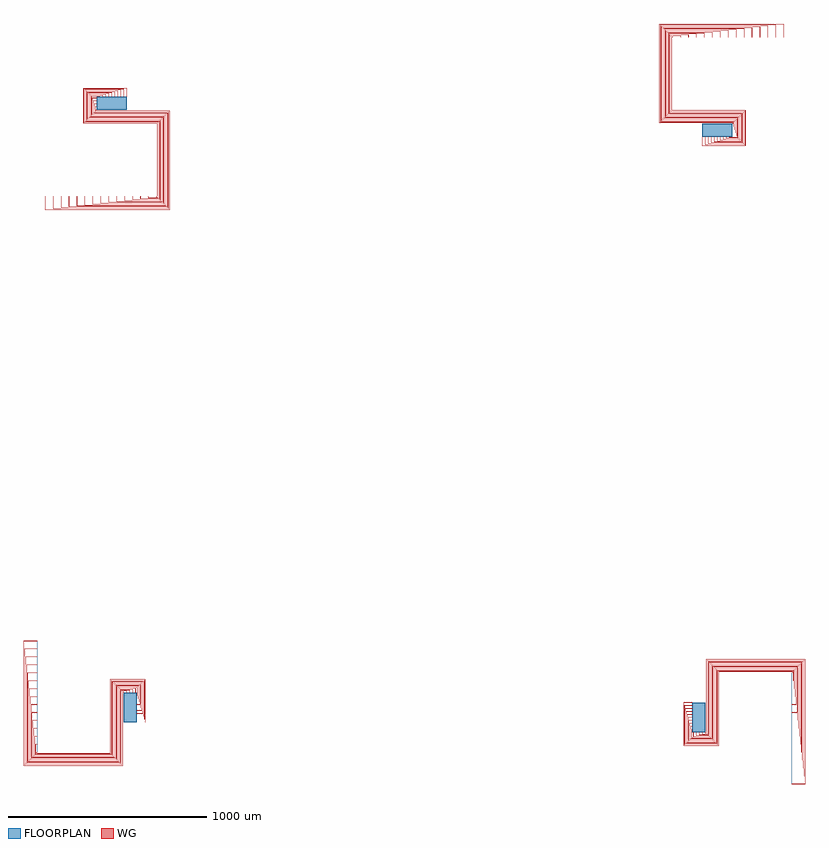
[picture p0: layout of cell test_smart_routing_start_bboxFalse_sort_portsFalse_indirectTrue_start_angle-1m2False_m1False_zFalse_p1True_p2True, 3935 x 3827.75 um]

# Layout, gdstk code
import gdstk
lib = gdstk.Library(unit=1e-6, precision=1e-09)
def R(c, l, rs):  # rectangles x0, y0, x1, y1
    for r in rs: c.add(gdstk.rectangle(r[:2], r[2:], *l))
def P(c, l, *ps):  # polygons
    for p in ps: c.add(gdstk.Polygon(p, *l))
WG = (1, 0)
FLOORPLAN = (10, 0)

test_smart_routing_start = lib.new_cell('test_smart_routing_start_bboxFalse_sort_portsFalse_indirectTrue_start_angle-1m2False_m1False_zFalse_p1True_p2True')
P(test_smart_routing_start, WG, [(2949.75,2855),(2949.75,2900),(2949.95,2900),(2949.95,2855.2),(3167.3,2855.2),(3167.3,3032.55),(2795.55,3032.55),(2795.55,3404.2),(2799.95,3404.2),(2799.95,3400),(2799.75,3400),(2799.75,3404),(2795.75,3404),(2795.75,3032.75),(3167.5,3032.75),(3167.5,2855)],
  [(2950.05,2855.3),(2950.05,2900),(2950.25,2900),(2950.25,2855.5),(3167,2855.5),(3167,3032.25),(2795.25,3032.25),(2795.25,3404.5),(2800.25,3404.5),(2800.25,3400),(2800.05,3400),(2800.05,3404.3),(2795.45,3404.3),(2795.45,3032.45),(3167.2,3032.45),(3167.2,2855.3)],
  [(2964.75,2859.5),(2964.75,2900),(2964.95,2900),(2964.95,2859.7),(3162.8,2859.7),(3162.8,3028.05),(2791.05,3028.05),(2791.05,3408.7),(2839.95,3408.7),(2839.95,3400),(2839.75,3400),(2839.75,3408.5),(2791.25,3408.5),(2791.25,3028.25),(3163,3028.25),(3163,2859.5)],
  [(2965.05,2859.8),(2965.05,2900),(2965.25,2900),(2965.25,2860),(3162.5,2860),(3162.5,3027.75),(2790.75,3027.75),(2790.75,3409),(2840.25,3409),(2840.25,3400),(2840.05,3400),(2840.05,3408.8),(2790.95,3408.8),(2790.95,3027.95),(3162.7,3027.95),(3162.7,2859.8)],
  [(2979.75,2864),(2979.75,2900),(2979.95,2900),(2979.95,2864.2),(3158.3,2864.2),(3158.3,3023.55),(2786.55,3023.55),(2786.55,3413.2),(2879.95,3413.2),(2879.95,3400),(2879.75,3400),(2879.75,3413),(2786.75,3413),(2786.75,3023.75),(3158.5,3023.75),(3158.5,2864)],
  [(2980.05,2864.3),(2980.05,2900),(2980.25,2900),(2980.25,2864.5),(3158,2864.5),(3158,3023.25),(2786.25,3023.25),(2786.25,3413.5),(2880.25,3413.5),(2880.25,3400),(2880.05,3400),(2880.05,3413.3),(2786.45,3413.3),(2786.45,3023.45),(3158.2,3023.45),(3158.2,2864.3)],
  [(2994.75,2868.5),(2994.75,2900),(2994.95,2900),(2994.95,2868.7),(3153.8,2868.7),(3153.8,3019.05),(2782.05,3019.05),(2782.05,3417.7),(2919.95,3417.7),(2919.95,3400),(2919.75,3400),(2919.75,3417.5),(2782.25,3417.5),(2782.25,3019.25),(3154,3019.25),(3154,2868.5)],
  [(2995.05,2868.8),(2995.05,2900),(2995.25,2900),(2995.25,2869),(3153.5,2869),(3153.5,3018.75),(2781.75,3018.75),(2781.75,3418),(2920.25,3418),(2920.25,3400),(2920.05,3400),(2920.05,3417.8),(2781.95,3417.8),(2781.95,3018.95),(3153.7,3018.95),(3153.7,2868.8)],
  [(3009.75,2873),(3009.75,2900),(3009.95,2900),(3009.95,2873.2),(3149.3,2873.2),(3149.3,3014.55),(2777.55,3014.55),(2777.55,3422.2),(2959.95,3422.2),(2959.95,3400),(2959.75,3400),(2959.75,3422),(2777.75,3422),(2777.75,3014.75),(3149.5,3014.75),(3149.5,2873)],
  [(3010.05,2873.3),(3010.05,2900),(3010.25,2900),(3010.25,2873.5),(3149,2873.5),(3149,3014.25),(2777.25,3014.25),(2777.25,3422.5),(2960.25,3422.5),(2960.25,3400),(2960.05,3400),(2960.05,3422.3),(2777.45,3422.3),(2777.45,3014.45),(3149.2,3014.45),(3149.2,2873.3)],
  [(3024.75,2877.5),(3024.75,2900),(3024.95,2900),(3024.95,2877.7),(3144.8,2877.7),(3144.8,3010.05),(2773.05,3010.05),(2773.05,3426.7),(2999.95,3426.7),(2999.95,3400),(2999.75,3400),(2999.75,3426.5),(2773.25,3426.5),(2773.25,3010.25),(3145,3010.25),(3145,2877.5)],
  [(3025.05,2877.8),(3025.05,2900),(3025.25,2900),(3025.25,2878),(3144.5,2878),(3144.5,3009.75),(2772.75,3009.75),(2772.75,3427),(3000.25,3427),(3000.25,3400),(3000.05,3400),(3000.05,3426.8),(2772.95,3426.8),(2772.95,3009.95),(3144.7,3009.95),(3144.7,2877.8)],
  [(3039.75,2882),(3039.75,2900),(3039.95,2900),(3039.95,2882.2),(3140.3,2882.2),(3140.3,3005.55),(2768.55,3005.55),(2768.55,3431.2),(3039.95,3431.2),(3039.95,3400),(3039.75,3400),(3039.75,3431),(2768.75,3431),(2768.75,3005.75),(3140.5,3005.75),(3140.5,2882)],
  [(3040.05,2882.3),(3040.05,2900),(3040.25,2900),(3040.25,2882.5),(3140,2882.5),(3140,3005.25),(2768.25,3005.25),(2768.25,3431.5),(3040.25,3431.5),(3040.25,3400),(3040.05,3400),(3040.05,3431.3),(2768.45,3431.3),(2768.45,3005.45),(3140.2,3005.45),(3140.2,2882.3)],
  [(3054.75,2886.5),(3054.75,2900),(3054.95,2900),(3054.95,2886.7),(3135.8,2886.7),(3135.8,3001.05),(2764.05,3001.05),(2764.05,3435.7),(3079.95,3435.7),(3079.95,3400),(3079.75,3400),(3079.75,3435.5),(2764.25,3435.5),(2764.25,3001.25),(3136,3001.25),(3136,2886.5)],
  [(3055.05,2886.8),(3055.05,2900),(3055.25,2900),(3055.25,2887),(3135.5,2887),(3135.5,3000.75),(2763.75,3000.75),(2763.75,3436),(3080.25,3436),(3080.25,3400),(3080.05,3400),(3080.05,3435.8),(2763.95,3435.8),(2763.95,3000.95),(3135.7,3000.95),(3135.7,2886.8)],
  [(3069.75,2891),(3069.75,2900),(3069.95,2900),(3069.95,2891.2),(3131.3,2891.2),(3131.3,2996.55),(2759.55,2996.55),(2759.55,3440.2),(3119.95,3440.2),(3119.95,3400),(3119.75,3400),(3119.75,3440),(2759.75,3440),(2759.75,2996.75),(3131.5,2996.75),(3131.5,2891)],
  [(3070.05,2891.3),(3070.05,2900),(3070.25,2900),(3070.25,2891.5),(3131,2891.5),(3131,2996.25),(2759.25,2996.25),(2759.25,3440.5),(3120.25,3440.5),(3120.25,3400),(3120.05,3400),(3120.05,3440.3),(2759.45,3440.3),(2759.45,2996.45),(3131.2,2996.45),(3131.2,2891.3)],
  [(3084.75,2895.5),(3084.75,2900),(3084.95,2900),(3084.95,2895.7),(3126.8,2895.7),(3126.8,2992.05),(2755.05,2992.05),(2755.05,3444.7),(3159.95,3444.7),(3159.95,3400),(3159.75,3400),(3159.75,3444.5),(2755.25,3444.5),(2755.25,2992.25),(3127,2992.25),(3127,2895.5)],
  [(3085.05,2895.8),(3085.05,2900),(3085.25,2900),(3085.25,2896),(3126.5,2896),(3126.5,2991.75),(2754.75,2991.75),(2754.75,3445),(3160.25,3445),(3160.25,3400),(3160.05,3400),(3160.05,3444.8),(2754.95,3444.8),(2754.95,2991.95),(3126.7,2991.95),(3126.7,2895.8)],
  [(3100,2964.75),(3100,2964.95),(3104.3,2964.95),(3104.3,2969.55),(2732.55,2969.55),(2732.55,3467.2),(3359.95,3467.2),(3359.95,3400),(3359.75,3400),(3359.75,3467),(2732.75,3467),(2732.75,2969.75),(3104.5,2969.75),(3104.5,2964.75)],
  [(3100,2965.05),(3100,2965.25),(3104,2965.25),(3104,2969.25),(2732.25,2969.25),(2732.25,3467.5),(3360.25,3467.5),(3360.25,3400),(3360.05,3400),(3360.05,3467.3),(2732.45,3467.3),(2732.45,2969.45),(3104.2,2969.45),(3104.2,2965.05)],
  [(3100,2949.75),(3100,2949.95),(3108.8,2949.95),(3108.8,2974.05),(2737.05,2974.05),(2737.05,3462.7),(3319.95,3462.7),(3319.95,3400),(3319.75,3400),(3319.75,3462.5),(2737.25,3462.5),(2737.25,2974.25),(3109,2974.25),(3109,2949.75)],
  [(3100,2950.05),(3100,2950.25),(3108.5,2950.25),(3108.5,2973.75),(2736.75,2973.75),(2736.75,3463),(3320.25,3463),(3320.25,3400),(3320.05,3400),(3320.05,3462.8),(2736.95,3462.8),(2736.95,2973.95),(3108.7,2973.95),(3108.7,2950.05)],
  [(3100,2934.75),(3100,2934.95),(3113.3,2934.95),(3113.3,2978.55),(2741.55,2978.55),(2741.55,3458.2),(3279.95,3458.2),(3279.95,3400),(3279.75,3400),(3279.75,3458),(2741.75,3458),(2741.75,2978.75),(3113.5,2978.75),(3113.5,2934.75)],
  [(3100,2935.05),(3100,2935.25),(3113,2935.25),(3113,2978.25),(2741.25,2978.25),(2741.25,3458.5),(3280.25,3458.5),(3280.25,3400),(3280.05,3400),(3280.05,3458.3),(2741.45,3458.3),(2741.45,2978.45),(3113.2,2978.45),(3113.2,2935.05)],
  [(3100,2919.75),(3100,2919.95),(3117.8,2919.95),(3117.8,2983.05),(2746.05,2983.05),(2746.05,3453.7),(3239.95,3453.7),(3239.95,3400),(3239.75,3400),(3239.75,3453.5),(2746.25,3453.5),(2746.25,2983.25),(3118,2983.25),(3118,2919.75)],
  [(3100,2920.05),(3100,2920.25),(3117.5,2920.25),(3117.5,2982.75),(2745.75,2982.75),(2745.75,3454),(3240.25,3454),(3240.25,3400),(3240.05,3400),(3240.05,3453.8),(2745.95,3453.8),(2745.95,2982.95),(3117.7,2982.95),(3117.7,2920.05)],
  [(3100,2904.75),(3100,2904.95),(3122.3,2904.95),(3122.3,2987.55),(2750.55,2987.55),(2750.55,3449.2),(3199.95,3449.2),(3199.95,3400),(3199.75,3400),(3199.75,3449),(2750.75,3449),(2750.75,2987.75),(3122.5,2987.75),(3122.5,2904.75)],
  [(3100,2905.05),(3100,2905.25),(3122,2905.25),(3122,2987.25),(2750.25,2987.25),(2750.25,3449.5),(3200.25,3449.5),(3200.25,3400),(3200.05,3400),(3200.05,3449.3),(2750.45,3449.3),(2750.45,2987.45),(3122.2,2987.45),(3122.2,2905.05)],
  [(199.75,2595.5),(199.75,2600),(199.95,2600),(199.95,2595.7),(204.55,2595.7),(204.55,2967.55),(-167.2,2967.55),(-167.2,3144.7),(49.95,3144.7),(49.95,3100),(49.75,3100),(49.75,3144.5),(-167,3144.5),(-167,2967.75),(204.75,2967.75),(204.75,2595.5)],
  [(200.05,2595.8),(200.05,2600),(200.25,2600),(200.25,2596),(204.25,2596),(204.25,2967.25),(-167.5,2967.25),(-167.5,3145),(50.25,3145),(50.25,3100),(50.05,3100),(50.05,3144.8),(-167.3,3144.8),(-167.3,2967.45),(204.45,2967.45),(204.45,2595.8)],
  [(159.75,2591),(159.75,2600),(159.95,2600),(159.95,2591.2),(209.05,2591.2),(209.05,2972.05),(-162.7,2972.05),(-162.7,3140.2),(34.95,3140.2),(34.95,3100),(34.75,3100),(34.75,3140),(-162.5,3140),(-162.5,2972.25),(209.25,2972.25),(209.25,2591)],
  [(160.05,2591.3),(160.05,2600),(160.25,2600),(160.25,2591.5),(208.75,2591.5),(208.75,2971.75),(-163,2971.75),(-163,3140.5),(35.25,3140.5),(35.25,3100),(35.05,3100),(35.05,3140.3),(-162.8,3140.3),(-162.8,2971.95),(208.95,2971.95),(208.95,2591.3)],
  [(119.75,2586.5),(119.75,2600),(119.95,2600),(119.95,2586.7),(213.55,2586.7),(213.55,2976.55),(-158.2,2976.55),(-158.2,3135.7),(19.95,3135.7),(19.95,3100),(19.75,3100),(19.75,3135.5),(-158,3135.5),(-158,2976.75),(213.75,2976.75),(213.75,2586.5)],
  [(120.05,2586.8),(120.05,2600),(120.25,2600),(120.25,2587),(213.25,2587),(213.25,2976.25),(-158.5,2976.25),(-158.5,3136),(20.25,3136),(20.25,3100),(20.05,3100),(20.05,3135.8),(-158.3,3135.8),(-158.3,2976.45),(213.45,2976.45),(213.45,2586.8)],
  [(79.75,2582),(79.75,2600),(79.95,2600),(79.95,2582.2),(218.05,2582.2),(218.05,2981.05),(-153.7,2981.05),(-153.7,3131.2),(4.95,3131.2),(4.95,3100),(4.75,3100),(4.75,3131),(-153.5,3131),(-153.5,2981.25),(218.25,2981.25),(218.25,2582)],
  [(80.05,2582.3),(80.05,2600),(80.25,2600),(80.25,2582.5),(217.75,2582.5),(217.75,2980.75),(-154,2980.75),(-154,3131.5),(5.25,3131.5),(5.25,3100),(5.05,3100),(5.05,3131.3),(-153.8,3131.3),(-153.8,2980.95),(217.95,2980.95),(217.95,2582.3)],
  [(39.75,2577.5),(39.75,2600),(39.95,2600),(39.95,2577.7),(222.55,2577.7),(222.55,2985.55),(-149.2,2985.55),(-149.2,3126.7),(-10.05,3126.7),(-10.05,3100),(-10.25,3100),(-10.25,3126.5),(-149,3126.5),(-149,2985.75),(222.75,2985.75),(222.75,2577.5)],
  [(40.05,2577.8),(40.05,2600),(40.25,2600),(40.25,2578),(222.25,2578),(222.25,2985.25),(-149.5,2985.25),(-149.5,3127),(-9.75,3127),(-9.75,3100),(-9.95,3100),(-9.95,3126.8),(-149.3,3126.8),(-149.3,2985.45),(222.45,2985.45),(222.45,2577.8)],
  [(-0.25,2573),(-0.25,2600),(-0.05,2600),(-0.05,2573.2),(227.05,2573.2),(227.05,2990.05),(-144.7,2990.05),(-144.7,3122.2),(-25.05,3122.2),(-25.05,3100),(-25.25,3100),(-25.25,3122),(-144.5,3122),(-144.5,2990.25),(227.25,2990.25),(227.25,2573)],
  [(0.05,2573.3),(0.05,2600),(0.25,2600),(0.25,2573.5),(226.75,2573.5),(226.75,2989.75),(-145,2989.75),(-145,3122.5),(-24.75,3122.5),(-24.75,3100),(-24.95,3100),(-24.95,3122.3),(-144.8,3122.3),(-144.8,2989.95),(226.95,2989.95),(226.95,2573.3)],
  [(-40.25,2568.5),(-40.25,2600),(-40.05,2600),(-40.05,2568.7),(231.55,2568.7),(231.55,2994.55),(-140.2,2994.55),(-140.2,3117.7),(-40.05,3117.7),(-40.05,3100),(-40.25,3100),(-40.25,3117.5),(-140,3117.5),(-140,2994.75),(231.75,2994.75),(231.75,2568.5)],
  [(-39.95,2568.8),(-39.95,2600),(-39.75,2600),(-39.75,2569),(231.25,2569),(231.25,2994.25),(-140.5,2994.25),(-140.5,3118),(-39.75,3118),(-39.75,3100),(-39.95,3100),(-39.95,3117.8),(-140.3,3117.8),(-140.3,2994.45),(231.45,2994.45),(231.45,2568.8)],
  [(-80.25,2564),(-80.25,2600),(-80.05,2600),(-80.05,2564.2),(236.05,2564.2),(236.05,2999.05),(-135.7,2999.05),(-135.7,3113.2),(-55.05,3113.2),(-55.05,3100),(-55.25,3100),(-55.25,3113),(-135.5,3113),(-135.5,2999.25),(236.25,2999.25),(236.25,2564)],
  [(-79.95,2564.3),(-79.95,2600),(-79.75,2600),(-79.75,2564.5),(235.75,2564.5),(235.75,2998.75),(-136,2998.75),(-136,3113.5),(-54.75,3113.5),(-54.75,3100),(-54.95,3100),(-54.95,3113.3),(-135.8,3113.3),(-135.8,2998.95),(235.95,2998.95),(235.95,2564.3)],
  [(-120.25,2559.5),(-120.25,2600),(-120.05,2600),(-120.05,2559.7),(240.55,2559.7),(240.55,3003.55),(-131.2,3003.55),(-131.2,3108.7),(-70.05,3108.7),(-70.05,3100),(-70.25,3100),(-70.25,3108.5),(-131,3108.5),(-131,3003.75),(240.75,3003.75),(240.75,2559.5)],
  [(-119.95,2559.8),(-119.95,2600),(-119.75,2600),(-119.75,2560),(240.25,2560),(240.25,3003.25),(-131.5,3003.25),(-131.5,3109),(-69.75,3109),(-69.75,3100),(-69.95,3100),(-69.95,3108.8),(-131.3,3108.8),(-131.3,3003.45),(240.45,3003.45),(240.45,2559.8)],
  [(-160.25,2555),(-160.25,2600),(-160.05,2600),(-160.05,2555.2),(245.05,2555.2),(245.05,3008.05),(-126.7,3008.05),(-126.7,3104.2),(-85.05,3104.2),(-85.05,3100),(-85.25,3100),(-85.25,3104),(-126.5,3104),(-126.5,3008.25),(245.25,3008.25),(245.25,2555)],
  [(-159.95,2555.3),(-159.95,2600),(-159.75,2600),(-159.75,2555.5),(244.75,2555.5),(244.75,3007.75),(-127,3007.75),(-127,3104.5),(-84.75,3104.5),(-84.75,3100),(-84.95,3100),(-84.95,3104.3),(-126.8,3104.3),(-126.8,3007.95),(244.95,3007.95),(244.95,2555.3)],
  [(-360.25,2532.5),(-360.25,2600),(-360.05,2600),(-360.05,2532.7),(267.55,2532.7),(267.55,3030.55),(-104.2,3030.55),(-104.2,3034.95),(-100,3034.95),(-100,3034.75),(-104,3034.75),(-104,3030.75),(267.75,3030.75),(267.75,2532.5)],
  [(-359.95,2532.8),(-359.95,2600),(-359.75,2600),(-359.75,2533),(267.25,2533),(267.25,3030.25),(-104.5,3030.25),(-104.5,3035.25),(-100,3035.25),(-100,3035.05),(-104.3,3035.05),(-104.3,3030.45),(267.45,3030.45),(267.45,2532.8)],
  [(-320.25,2537),(-320.25,2600),(-320.05,2600),(-320.05,2537.2),(263.05,2537.2),(263.05,3026.05),(-108.7,3026.05),(-108.7,3049.95),(-100,3049.95),(-100,3049.75),(-108.5,3049.75),(-108.5,3026.25),(263.25,3026.25),(263.25,2537)],
  [(-319.95,2537.3),(-319.95,2600),(-319.75,2600),(-319.75,2537.5),(262.75,2537.5),(262.75,3025.75),(-109,3025.75),(-109,3050.25),(-100,3050.25),(-100,3050.05),(-108.8,3050.05),(-108.8,3025.95),(262.95,3025.95),(262.95,2537.3)],
  [(-280.25,2541.5),(-280.25,2600),(-280.05,2600),(-280.05,2541.7),(258.55,2541.7),(258.55,3021.55),(-113.2,3021.55),(-113.2,3064.95),(-100,3064.95),(-100,3064.75),(-113,3064.75),(-113,3021.75),(258.75,3021.75),(258.75,2541.5)],
  [(-279.95,2541.8),(-279.95,2600),(-279.75,2600),(-279.75,2542),(258.25,2542),(258.25,3021.25),(-113.5,3021.25),(-113.5,3065.25),(-100,3065.25),(-100,3065.05),(-113.3,3065.05),(-113.3,3021.45),(258.45,3021.45),(258.45,2541.8)],
  [(-240.25,2546),(-240.25,2600),(-240.05,2600),(-240.05,2546.2),(254.05,2546.2),(254.05,3017.05),(-117.7,3017.05),(-117.7,3079.95),(-100,3079.95),(-100,3079.75),(-117.5,3079.75),(-117.5,3017.25),(254.25,3017.25),(254.25,2546)],
  [(-239.95,2546.3),(-239.95,2600),(-239.75,2600),(-239.75,2546.5),(253.75,2546.5),(253.75,3016.75),(-118,3016.75),(-118,3080.25),(-100,3080.25),(-100,3080.05),(-117.8,3080.05),(-117.8,3016.95),(253.95,3016.95),(253.95,2546.3)],
  [(-200.25,2550.5),(-200.25,2600),(-200.05,2600),(-200.05,2550.7),(249.55,2550.7),(249.55,3012.55),(-122.2,3012.55),(-122.2,3094.95),(-100,3094.95),(-100,3094.75),(-122,3094.75),(-122,3012.75),(249.75,3012.75),(249.75,2550.5)],
  [(-199.95,2550.8),(-199.95,2600),(-199.75,2600),(-199.75,2551),(249.25,2551),(249.25,3012.25),(-122.5,3012.25),(-122.5,3095.25),(-100,3095.25),(-100,3095.05),(-122.3,3095.05),(-122.3,3012.45),(249.45,3012.45),(249.45,2550.8)],
  [(-404.5,-204.75),(-404.5,-199.75),(-400,-199.75),(-400,-199.95),(-404.3,-199.95),(-404.3,-204.55),(-32.45,-204.55),(-32.45,167.2),(144.7,167.2),(144.7,-49.95),(100,-49.95),(100,-49.75),(144.5,-49.75),(144.5,167),(-32.25,167),(-32.25,-204.75)],
  [(-404.2,-204.45),(-404.2,-200.05),(-400,-200.05),(-400,-200.25),(-404,-200.25),(-404,-204.25),(-32.75,-204.25),(-32.75,167.5),(145,167.5),(145,-50.25),(100,-50.25),(100,-50.05),(144.8,-50.05),(144.8,167.3),(-32.55,167.3),(-32.55,-204.45)],
  [(-409,-209.25),(-409,-159.75),(-400,-159.75),(-400,-159.95),(-408.8,-159.95),(-408.8,-209.05),(-27.95,-209.05),(-27.95,162.7),(140.2,162.7),(140.2,-34.95),(100,-34.95),(100,-34.75),(140,-34.75),(140,162.5),(-27.75,162.5),(-27.75,-209.25)],
  [(-408.7,-208.95),(-408.7,-160.05),(-400,-160.05),(-400,-160.25),(-408.5,-160.25),(-408.5,-208.75),(-28.25,-208.75),(-28.25,163),(140.5,163),(140.5,-35.25),(100,-35.25),(100,-35.05),(140.3,-35.05),(140.3,162.8),(-28.05,162.8),(-28.05,-208.95)],
  [(-413.5,-213.75),(-413.5,-119.75),(-400,-119.75),(-400,-119.95),(-413.3,-119.95),(-413.3,-213.55),(-23.45,-213.55),(-23.45,158.2),(135.7,158.2),(135.7,-19.95),(100,-19.95),(100,-19.75),(135.5,-19.75),(135.5,158),(-23.25,158),(-23.25,-213.75)],
  [(-413.2,-213.45),(-413.2,-120.05),(-400,-120.05),(-400,-120.25),(-413,-120.25),(-413,-213.25),(-23.75,-213.25),(-23.75,158.5),(136,158.5),(136,-20.25),(100,-20.25),(100,-20.05),(135.8,-20.05),(135.8,158.3),(-23.55,158.3),(-23.55,-213.45)],
  [(-418,-218.25),(-418,-79.75),(-400,-79.75),(-400,-79.95),(-417.8,-79.95),(-417.8,-218.05),(-18.95,-218.05),(-18.95,153.7),(131.2,153.7),(131.2,-4.95),(100,-4.95),(100,-4.75),(131,-4.75),(131,153.5),(-18.75,153.5),(-18.75,-218.25)],
  [(-417.7,-217.95),(-417.7,-80.05),(-400,-80.05),(-400,-80.25),(-417.5,-80.25),(-417.5,-217.75),(-19.25,-217.75),(-19.25,154),(131.5,154),(131.5,-5.25),(100,-5.25),(100,-5.05),(131.3,-5.05),(131.3,153.8),(-19.05,153.8),(-19.05,-217.95)],
  [(-422.5,-222.75),(-422.5,-39.75),(-400,-39.75),(-400,-39.95),(-422.3,-39.95),(-422.3,-222.55),(-14.45,-222.55),(-14.45,149.2),(126.7,149.2),(126.7,10.05),(100,10.05),(100,10.25),(126.5,10.25),(126.5,149),(-14.25,149),(-14.25,-222.75)],
  [(-422.2,-222.45),(-422.2,-40.05),(-400,-40.05),(-400,-40.25),(-422,-40.25),(-422,-222.25),(-14.75,-222.25),(-14.75,149.5),(127,149.5),(127,9.75),(100,9.75),(100,9.95),(126.8,9.95),(126.8,149.3),(-14.55,149.3),(-14.55,-222.45)],
  [(-427,-227.25),(-427,0.25),(-400,0.25),(-400,0.05),(-426.8,0.05),(-426.8,-227.05),(-9.95,-227.05),(-9.95,144.7),(122.2,144.7),(122.2,25.05),(100,25.05),(100,25.25),(122,25.25),(122,144.5),(-9.75,144.5),(-9.75,-227.25)],
  [(-426.7,-226.95),(-426.7,-0.05),(-400,-0.05),(-400,-0.25),(-426.5,-0.25),(-426.5,-226.75),(-10.25,-226.75),(-10.25,145),(122.5,145),(122.5,24.75),(100,24.75),(100,24.95),(122.3,24.95),(122.3,144.8),(-10.05,144.8),(-10.05,-226.95)],
  [(-431.5,-231.75),(-431.5,40.25),(-400,40.25),(-400,40.05),(-431.3,40.05),(-431.3,-231.55),(-5.45,-231.55),(-5.45,140.2),(117.7,140.2),(117.7,40.05),(100,40.05),(100,40.25),(117.5,40.25),(117.5,140),(-5.25,140),(-5.25,-231.75)],
  [(-431.2,-231.45),(-431.2,39.95),(-400,39.95),(-400,39.75),(-431,39.75),(-431,-231.25),(-5.75,-231.25),(-5.75,140.5),(118,140.5),(118,39.75),(100,39.75),(100,39.95),(117.8,39.95),(117.8,140.3),(-5.55,140.3),(-5.55,-231.45)],
  [(-436,-236.25),(-436,80.25),(-400,80.25),(-400,80.05),(-435.8,80.05),(-435.8,-236.05),(-0.95,-236.05),(-0.95,135.7),(113.2,135.7),(113.2,55.05),(100,55.05),(100,55.25),(113,55.25),(113,135.5),(-0.75,135.5),(-0.75,-236.25)],
  [(-435.7,-235.95),(-435.7,79.95),(-400,79.95),(-400,79.75),(-435.5,79.75),(-435.5,-235.75),(-1.25,-235.75),(-1.25,136),(113.5,136),(113.5,54.75),(100,54.75),(100,54.95),(113.3,54.95),(113.3,135.8),(-1.05,135.8),(-1.05,-235.95)],
  [(-440.5,-240.75),(-440.5,120.25),(-400,120.25),(-400,120.05),(-440.3,120.05),(-440.3,-240.55),(3.55,-240.55),(3.55,131.2),(108.7,131.2),(108.7,70.05),(100,70.05),(100,70.25),(108.5,70.25),(108.5,131),(3.75,131),(3.75,-240.75)],
  [(-440.2,-240.45),(-440.2,119.95),(-400,119.95),(-400,119.75),(-440,119.75),(-440,-240.25),(3.25,-240.25),(3.25,131.5),(109,131.5),(109,69.75),(100,69.75),(100,69.95),(108.8,69.95),(108.8,131.3),(3.45,131.3),(3.45,-240.45)],
  [(-444.7,-244.95),(-444.7,159.95),(-400,159.95),(-400,159.75),(-444.5,159.75),(-444.5,-244.75),(7.75,-244.75),(7.75,127),(104.5,127),(104.5,84.75),(100,84.75),(100,84.95),(104.3,84.95),(104.3,126.8),(7.95,126.8),(7.95,-244.95)],
  [(-445,-245.25),(-445,160.25),(-400,160.25),(-400,160.05),(-444.8,160.05),(-444.8,-245.05),(8.05,-245.05),(8.05,126.7),(104.2,126.7),(104.2,85.05),(100,85.05),(100,85.25),(104,85.25),(104,126.5),(8.25,126.5),(8.25,-245.25)],
  [(-467.2,-267.45),(-467.2,359.95),(-400,359.95),(-400,359.75),(-467,359.75),(-467,-267.25),(30.25,-267.25),(30.25,104.5),(35.25,104.5),(35.25,100),(35.05,100),(35.05,104.3),(30.45,104.3),(30.45,-267.45)],
  [(-467.5,-267.75),(-467.5,360.25),(-400,360.25),(-400,360.05),(-467.3,360.05),(-467.3,-267.55),(30.55,-267.55),(30.55,104.2),(34.95,104.2),(34.95,100),(34.75,100),(34.75,104),(30.75,104),(30.75,-267.75)],
  [(-462.7,-262.95),(-462.7,319.95),(-400,319.95),(-400,319.75),(-462.5,319.75),(-462.5,-262.75),(25.75,-262.75),(25.75,109),(50.25,109),(50.25,100),(50.05,100),(50.05,108.8),(25.95,108.8),(25.95,-262.95)],
  [(-463,-263.25),(-463,320.25),(-400,320.25),(-400,320.05),(-462.8,320.05),(-462.8,-263.05),(26.05,-263.05),(26.05,108.7),(49.95,108.7),(49.95,100),(49.75,100),(49.75,108.5),(26.25,108.5),(26.25,-263.25)],
  [(-458.2,-258.45),(-458.2,279.95),(-400,279.95),(-400,279.75),(-458,279.75),(-458,-258.25),(21.25,-258.25),(21.25,113.5),(65.25,113.5),(65.25,100),(65.05,100),(65.05,113.3),(21.45,113.3),(21.45,-258.45)],
  [(-458.5,-258.75),(-458.5,280.25),(-400,280.25),(-400,280.05),(-458.3,280.05),(-458.3,-258.55),(21.55,-258.55),(21.55,113.2),(64.95,113.2),(64.95,100),(64.75,100),(64.75,113),(21.75,113),(21.75,-258.75)],
  [(-453.7,-253.95),(-453.7,239.95),(-400,239.95),(-400,239.75),(-453.5,239.75),(-453.5,-253.75),(16.75,-253.75),(16.75,118),(80.25,118),(80.25,100),(80.05,100),(80.05,117.8),(16.95,117.8),(16.95,-253.95)],
  [(-454,-254.25),(-454,240.25),(-400,240.25),(-400,240.05),(-453.8,240.05),(-453.8,-254.05),(17.05,-254.05),(17.05,117.7),(79.95,117.7),(79.95,100),(79.75,100),(79.75,117.5),(17.25,117.5),(17.25,-254.25)],
  [(-449.2,-249.45),(-449.2,199.95),(-400,199.95),(-400,199.75),(-449,199.75),(-449,-249.25),(12.25,-249.25),(12.25,122.5),(95.25,122.5),(95.25,100),(95.05,100),(95.05,122.3),(12.45,122.3),(12.45,-249.45)],
  [(-449.5,-249.75),(-449.5,200.25),(-400,200.25),(-400,200.05),(-449.3,200.05),(-449.3,-249.55),(12.55,-249.55),(12.55,122.2),(94.95,122.2),(94.95,100),(94.75,100),(94.75,122),(12.75,122),(12.75,-249.75)],
  [(2855,-167.5),(2855,50.25),(2900,50.25),(2900,50.05),(2855.2,50.05),(2855.2,-167.3),(3032.55,-167.3),(3032.55,204.45),(3404.2,204.45),(3404.2,200.05),(3400,200.05),(3400,200.25),(3404,200.25),(3404,204.25),(3032.75,204.25),(3032.75,-167.5)],
  [(2855.3,-167.2),(2855.3,49.95),(2900,49.95),(2900,49.75),(2855.5,49.75),(2855.5,-167),(3032.25,-167),(3032.25,204.75),(3404.5,204.75),(3404.5,199.75),(3400,199.75),(3400,199.95),(3404.3,199.95),(3404.3,204.55),(3032.45,204.55),(3032.45,-167.2)],
  [(2859.5,-163),(2859.5,35.25),(2900,35.25),(2900,35.05),(2859.7,35.05),(2859.7,-162.8),(3028.05,-162.8),(3028.05,208.95),(3408.7,208.95),(3408.7,160.05),(3400,160.05),(3400,160.25),(3408.5,160.25),(3408.5,208.75),(3028.25,208.75),(3028.25,-163)],
  [(2859.8,-162.7),(2859.8,34.95),(2900,34.95),(2900,34.75),(2860,34.75),(2860,-162.5),(3027.75,-162.5),(3027.75,209.25),(3409,209.25),(3409,159.75),(3400,159.75),(3400,159.95),(3408.8,159.95),(3408.8,209.05),(3027.95,209.05),(3027.95,-162.7)],
  [(2864,-158.5),(2864,20.25),(2900,20.25),(2900,20.05),(2864.2,20.05),(2864.2,-158.3),(3023.55,-158.3),(3023.55,213.45),(3413.2,213.45),(3413.2,120.05),(3400,120.05),(3400,120.25),(3413,120.25),(3413,213.25),(3023.75,213.25),(3023.75,-158.5)],
  [(2864.3,-158.2),(2864.3,19.95),(2900,19.95),(2900,19.75),(2864.5,19.75),(2864.5,-158),(3023.25,-158),(3023.25,213.75),(3413.5,213.75),(3413.5,119.75),(3400,119.75),(3400,119.95),(3413.3,119.95),(3413.3,213.55),(3023.45,213.55),(3023.45,-158.2)],
  [(2868.5,-154),(2868.5,5.25),(2900,5.25),(2900,5.05),(2868.7,5.05),(2868.7,-153.8),(3019.05,-153.8),(3019.05,217.95),(3417.7,217.95),(3417.7,80.05),(3400,80.05),(3400,80.25),(3417.5,80.25),(3417.5,217.75),(3019.25,217.75),(3019.25,-154)],
  [(2868.8,-153.7),(2868.8,4.95),(2900,4.95),(2900,4.75),(2869,4.75),(2869,-153.5),(3018.75,-153.5),(3018.75,218.25),(3418,218.25),(3418,79.75),(3400,79.75),(3400,79.95),(3417.8,79.95),(3417.8,218.05),(3018.95,218.05),(3018.95,-153.7)],
  [(2873,-149.5),(2873,-9.75),(2900,-9.75),(2900,-9.95),(2873.2,-9.95),(2873.2,-149.3),(3014.55,-149.3),(3014.55,222.45),(3422.2,222.45),(3422.2,40.05),(3400,40.05),(3400,40.25),(3422,40.25),(3422,222.25),(3014.75,222.25),(3014.75,-149.5)],
  [(2873.3,-149.2),(2873.3,-10.05),(2900,-10.05),(2900,-10.25),(2873.5,-10.25),(2873.5,-149),(3014.25,-149),(3014.25,222.75),(3422.5,222.75),(3422.5,39.75),(3400,39.75),(3400,39.95),(3422.3,39.95),(3422.3,222.55),(3014.45,222.55),(3014.45,-149.2)],
  [(2877.5,-145),(2877.5,-24.75),(2900,-24.75),(2900,-24.95),(2877.7,-24.95),(2877.7,-144.8),(3010.05,-144.8),(3010.05,226.95),(3426.7,226.95),(3426.7,0.05),(3400,0.05),(3400,0.25),(3426.5,0.25),(3426.5,226.75),(3010.25,226.75),(3010.25,-145)],
  [(2877.8,-144.7),(2877.8,-25.05),(2900,-25.05),(2900,-25.25),(2878,-25.25),(2878,-144.5),(3009.75,-144.5),(3009.75,227.25),(3427,227.25),(3427,-0.25),(3400,-0.25),(3400,-0.05),(3426.8,-0.05),(3426.8,227.05),(3009.95,227.05),(3009.95,-144.7)],
  [(2882,-140.5),(2882,-39.75),(2900,-39.75),(2900,-39.95),(2882.2,-39.95),(2882.2,-140.3),(3005.55,-140.3),(3005.55,231.45),(3431.2,231.45),(3431.2,-39.95),(3400,-39.95),(3400,-39.75),(3431,-39.75),(3431,231.25),(3005.75,231.25),(3005.75,-140.5)],
  [(2882.3,-140.2),(2882.3,-40.05),(2900,-40.05),(2900,-40.25),(2882.5,-40.25),(2882.5,-140),(3005.25,-140),(3005.25,231.75),(3431.5,231.75),(3431.5,-40.25),(3400,-40.25),(3400,-40.05),(3431.3,-40.05),(3431.3,231.55),(3005.45,231.55),(3005.45,-140.2)],
  [(2886.5,-136),(2886.5,-54.75),(2900,-54.75),(2900,-54.95),(2886.7,-54.95),(2886.7,-135.8),(3001.05,-135.8),(3001.05,235.95),(3435.7,235.95),(3435.7,-79.95),(3400,-79.95),(3400,-79.75),(3435.5,-79.75),(3435.5,235.75),(3001.25,235.75),(3001.25,-136)],
  [(2886.8,-135.7),(2886.8,-55.05),(2900,-55.05),(2900,-55.25),(2887,-55.25),(2887,-135.5),(3000.75,-135.5),(3000.75,236.25),(3436,236.25),(3436,-80.25),(3400,-80.25),(3400,-80.05),(3435.8,-80.05),(3435.8,236.05),(3000.95,236.05),(3000.95,-135.7)],
  [(2891,-131.5),(2891,-69.75),(2900,-69.75),(2900,-69.95),(2891.2,-69.95),(2891.2,-131.3),(2996.55,-131.3),(2996.55,240.45),(3440.2,240.45),(3440.2,-119.95),(3400,-119.95),(3400,-119.75),(3440,-119.75),(3440,240.25),(2996.75,240.25),(2996.75,-131.5)],
  [(2891.3,-131.2),(2891.3,-70.05),(2900,-70.05),(2900,-70.25),(2891.5,-70.25),(2891.5,-131),(2996.25,-131),(2996.25,240.75),(3440.5,240.75),(3440.5,-120.25),(3400,-120.25),(3400,-120.05),(3440.3,-120.05),(3440.3,240.55),(2996.45,240.55),(2996.45,-131.2)],
  [(3400,-159.95),(3400,-159.75),(3444.5,-159.75),(3444.5,244.75),(2992.25,244.75),(2992.25,-127),(2895.5,-127),(2895.5,-84.75),(2900,-84.75),(2900,-84.95),(2895.7,-84.95),(2895.7,-126.8),(2992.05,-126.8),(2992.05,244.95),(3444.7,244.95),(3444.7,-159.95)],
  [(3400,-160.25),(3400,-160.05),(3444.8,-160.05),(3444.8,245.05),(2991.95,245.05),(2991.95,-126.7),(2895.8,-126.7),(2895.8,-85.05),(2900,-85.05),(2900,-85.25),(2896,-85.25),(2896,-126.5),(2991.75,-126.5),(2991.75,245.25),(3445,245.25),(3445,-160.25)],
  [(3400,-359.95),(3400,-359.75),(3467,-359.75),(3467,267.25),(2969.75,267.25),(2969.75,-104.5),(2964.75,-104.5),(2964.75,-100),(2964.95,-100),(2964.95,-104.3),(2969.55,-104.3),(2969.55,267.45),(3467.2,267.45),(3467.2,-359.95)],
  [(3400,-360.25),(3400,-360.05),(3467.3,-360.05),(3467.3,267.55),(2969.45,267.55),(2969.45,-104.2),(2965.05,-104.2),(2965.05,-100),(2965.25,-100),(2965.25,-104),(2969.25,-104),(2969.25,267.75),(3467.5,267.75),(3467.5,-360.25)],
  [(3400,-319.95),(3400,-319.75),(3462.5,-319.75),(3462.5,262.75),(2974.25,262.75),(2974.25,-109),(2949.75,-109),(2949.75,-100),(2949.95,-100),(2949.95,-108.8),(2974.05,-108.8),(2974.05,262.95),(3462.7,262.95),(3462.7,-319.95)],
  [(3400,-320.25),(3400,-320.05),(3462.8,-320.05),(3462.8,263.05),(2973.95,263.05),(2973.95,-108.7),(2950.05,-108.7),(2950.05,-100),(2950.25,-100),(2950.25,-108.5),(2973.75,-108.5),(2973.75,263.25),(3463,263.25),(3463,-320.25)],
  [(3400,-279.95),(3400,-279.75),(3458,-279.75),(3458,258.25),(2978.75,258.25),(2978.75,-113.5),(2934.75,-113.5),(2934.75,-100),(2934.95,-100),(2934.95,-113.3),(2978.55,-113.3),(2978.55,258.45),(3458.2,258.45),(3458.2,-279.95)],
  [(3400,-280.25),(3400,-280.05),(3458.3,-280.05),(3458.3,258.55),(2978.45,258.55),(2978.45,-113.2),(2935.05,-113.2),(2935.05,-100),(2935.25,-100),(2935.25,-113),(2978.25,-113),(2978.25,258.75),(3458.5,258.75),(3458.5,-280.25)],
  [(3400,-239.95),(3400,-239.75),(3453.5,-239.75),(3453.5,253.75),(2983.25,253.75),(2983.25,-118),(2919.75,-118),(2919.75,-100),(2919.95,-100),(2919.95,-117.8),(2983.05,-117.8),(2983.05,253.95),(3453.7,253.95),(3453.7,-239.95)],
  [(3400,-240.25),(3400,-240.05),(3453.8,-240.05),(3453.8,254.05),(2982.95,254.05),(2982.95,-117.7),(2920.05,-117.7),(2920.05,-100),(2920.25,-100),(2920.25,-117.5),(2982.75,-117.5),(2982.75,254.25),(3454,254.25),(3454,-240.25)],
  [(3400,-199.95),(3400,-199.75),(3449,-199.75),(3449,249.25),(2987.75,249.25),(2987.75,-122.5),(2904.75,-122.5),(2904.75,-100),(2904.95,-100),(2904.95,-122.3),(2987.55,-122.3),(2987.55,249.45),(3449.2,249.45),(3449.2,-199.95)],
  [(3400,-200.25),(3400,-200.05),(3449.3,-200.05),(3449.3,249.55),(2987.45,249.55),(2987.45,-122.2),(2905.05,-122.2),(2905.05,-100),(2905.25,-100),(2905.25,-122),(2987.25,-122),(2987.25,249.75),(3449.5,249.75),(3449.5,-200.25)])
R(test_smart_routing_start, FLOORPLAN, [(2900,-100,2965,50), (35,-50,100,100), (2950,2900,3100,2965), (-100,3035,50,3100)])
P(test_smart_routing_start, FLOORPLAN, [(-400,-200),(-400,360),(-400,360),(-400,-200)],
  [(-360,2600),(-360,2600),(200,2600),(200,2600)],
  [(3400,-360),(3400,200),(3400,200),(3400,-360)],
  [(2800,3400),(2800,3400),(3360,3400),(3360,3400)])

lib.write_gds('test_smart_routing_start_bboxFalse_sort_portsFalse_indirectTrue_start_angle-1m2False_m1False_zFalse_p1True_p2True.gds')
